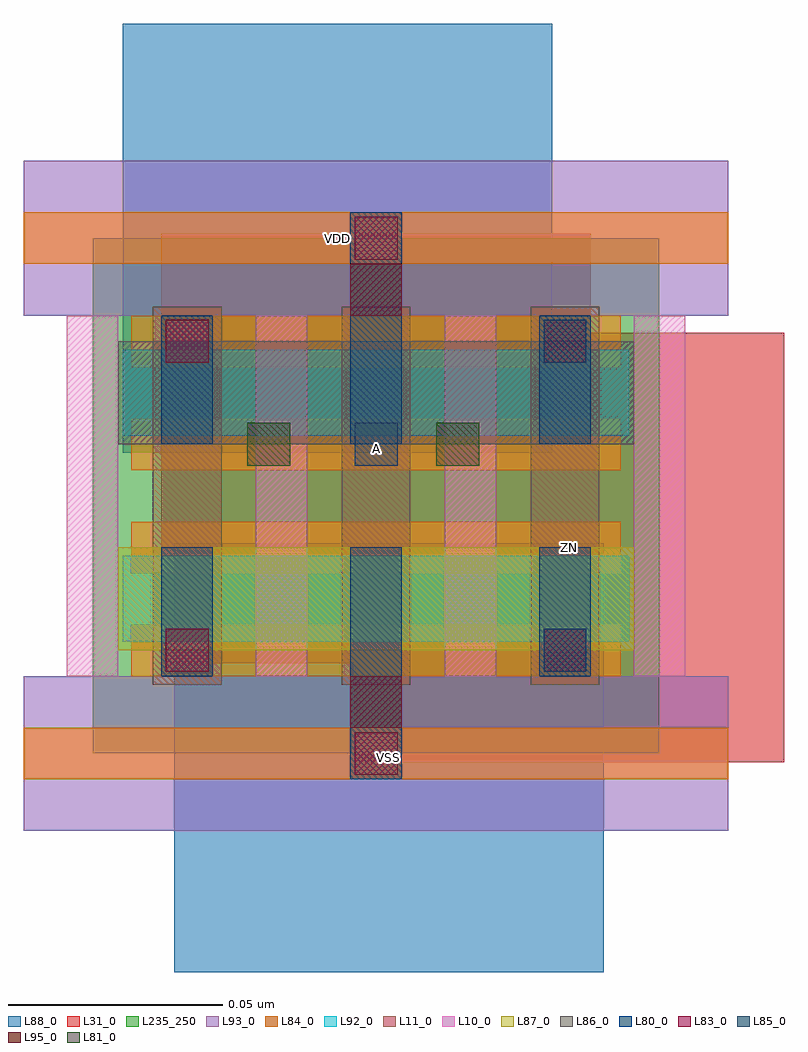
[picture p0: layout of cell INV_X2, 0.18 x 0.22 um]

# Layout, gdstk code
import gdstk
lib = gdstk.Library(unit=1e-6, precision=1e-09)
def R(c, l, rs):  # rectangles x0, y0, x1, y1
    for r in rs: c.add(gdstk.rectangle(r[:2], r[2:], *l))
def A(c, l, x, y, w, h, nx, ny, dx, dy):  # array of equal rectangles
    R(c, l, [(x+i*dx, y+j*dy, x+i*dx+w, y+j*dy+h) for i in range(nx) for j in range(ny)])
L10_0 = (10, 0)
L11_0 = (11, 0)
L31_0 = (31, 0)
L80_0 = (80, 0)
L81_0 = (81, 0)
L83_0 = (83, 0)
L84_0 = (84, 0)
L85_0 = (85, 0)
L86_0 = (86, 0)
L87_0 = (87, 0)
L88_0 = (88, 0)
L92_0 = (92, 0)
L93_0 = (93, 0)
L95_0 = (95, 0)
L235_250 = (235, 250)

inv_x2 = lib.new_cell('INV_X2')
A(inv_x2, L10_0, -0.006, 0.018, 0.012, 0.084, 4, 1, 0.044, 0)
A(inv_x2, L11_0, 0.014, 0.016, 0.016, 0.088, 3, 1, 0.044, 0)
R(inv_x2, L31_0, [(0.061,-0.002,0.161,0.098), (0.016,0.021,0.116,0.121)])
R(inv_x2, L80_0, [(0.06,-0.006,0.072,0.048), (0.016,0.018,0.028,0.048), (0.104,0.018,0.116,0.048), (0.016,0.072,0.028,0.102), (0.06,0.072,0.072,0.126), (0.104,0.072,0.116,0.102)])
R(inv_x2, L81_0, [(0.036,0.067,0.046,0.077), (0.08,0.067,0.09,0.077)])
R(inv_x2, L83_0, [(0.061,-0.005,0.071,0.005), (0.017,0.019,0.027,0.029), (0.105,0.019,0.115,0.029), (0.017,0.091,0.027,0.101), (0.105,0.091,0.115,0.101), (0.061,0.115,0.071,0.125)])
A(inv_x2, L84_0, 0.009, 0.018, 0.114, 0.012, 1, 4, 0, 0.024)
R(inv_x2, L84_0, [(-0.016,-0.006,0.148,0.006), (-0.016,0.114,0.148,0.126)])
R(inv_x2, L85_0, [(0.105,0.019,0.115,0.029), (0.061,0.067,0.071,0.077), (0.105,0.091,0.115,0.101)])
R(inv_x2, L86_0, [(0.006,0.072,0.126,0.096)])
R(inv_x2, L87_0, [(0.006,0.024,0.126,0.048)])
R(inv_x2, L88_0, [(0.019,-0.051,0.119,0.049), (0.007,0.07,0.107,0.17)])
R(inv_x2, L92_0, [(0.007,0.026,0.125,0.046), (0.007,0.074,0.125,0.094)])
R(inv_x2, L93_0, [(-0.016,-0.018,0.148,0.018), (-0.016,0.102,0.148,0.138)])
R(inv_x2, L95_0, [(0.06,0.006,0.072,0.018), (0.06,0.102,0.072,0.114)])
R(inv_x2, L235_250, [(0,0,0.132,0.12)])
inv_x2.add(gdstk.Label('VDD', (0.057,0.12), layer=88, texttype=0))
inv_x2.add(gdstk.Label('VSS', (0.069,-0.001), layer=88, texttype=0))
inv_x2.add(gdstk.Label('ZN', (0.111,0.048), layer=31, texttype=0))
inv_x2.add(gdstk.Label('A', (0.066,0.071), layer=31, texttype=0))

lib.write_gds('INV_X2.gds')
